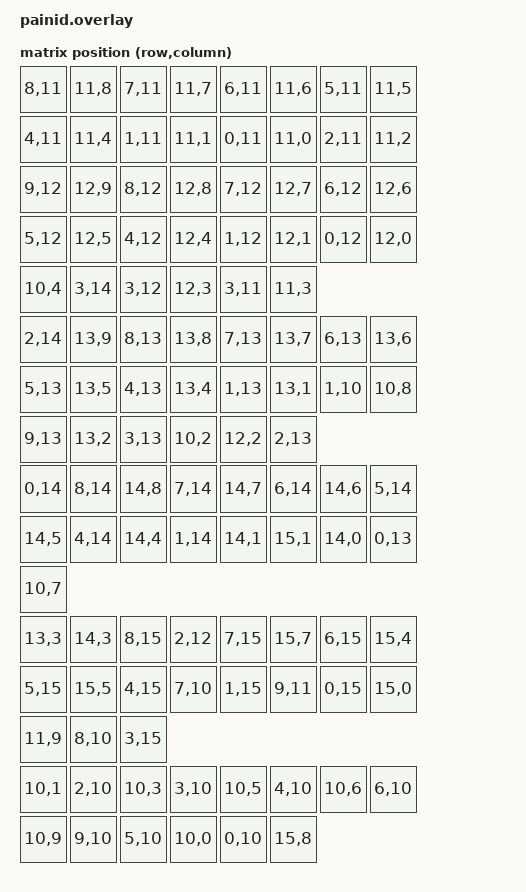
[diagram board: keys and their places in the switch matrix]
#include <dt-bindings/zmk/matrix_transform.h>
#include "painid-layouts.dtsi"

/ {
    chosen {
        zmk,physical-layout = &default_layout;
    };

    kscan: kscan {
        compatible = "zmk,kscan-gpio-charlieplex";
        wakeup-source;

        gpios
            = <&pro_micro 0  GPIO_ACTIVE_HIGH>
            , <&pro_micro 1  GPIO_ACTIVE_HIGH>
            , <&pro_micro 2  GPIO_ACTIVE_HIGH>
            , <&pro_micro 3  GPIO_ACTIVE_HIGH>
            , <&pro_micro 4  GPIO_ACTIVE_HIGH>
            , <&pro_micro 5  GPIO_ACTIVE_HIGH>
            , <&pro_micro 6  GPIO_ACTIVE_HIGH>
            , <&pro_micro 7  GPIO_ACTIVE_HIGH>
            , <&pro_micro 8  GPIO_ACTIVE_HIGH>
            , <&pro_micro 9  GPIO_ACTIVE_HIGH>
            , <&pro_micro 16 GPIO_ACTIVE_HIGH>
            , <&pro_micro 14 GPIO_ACTIVE_HIGH>
            , <&pro_micro 15 GPIO_ACTIVE_HIGH>
            , <&pro_micro 18 GPIO_ACTIVE_HIGH>
            , <&pro_micro 19 GPIO_ACTIVE_HIGH>
            , <&pro_micro 20 GPIO_ACTIVE_HIGH>
            ;
    };

    default_transform: default_transform {
        compatible = "zmk,matrix-transform";
        columns = <16>;
        rows = <16>;

        map = <
            /* Row 1 - Fn: Esc F1 F2 F3 F4 F5 F6 F7 F8 F9 F10 F11 F12 PrtSc ScrLk Pause */
            RC(8,11)  RC(11,8)  RC(7,11)  RC(11,7)  RC(6,11)  RC(11,6)  RC(5,11)  RC(11,5)
            RC(4,11)  RC(11,4)  RC(1,11)  RC(11,1)  RC(0,11)  RC(11,0)  RC(2,11)  RC(11,2)

            /* Row 2 - Num: Enc2 ^ 1 2 3 4 5 6 7 8 9 0 ss acu Bspc Ins Home PgUp NumLk / * Num- */
            RC(9,12)  RC(12,9)  RC(8,12)  RC(12,8)  RC(7,12)  RC(12,7)  RC(6,12)  RC(12,6)
            RC(5,12)  RC(12,5)  RC(4,12)  RC(12,4)  RC(1,12)  RC(12,1)  RC(0,12)  RC(12,0)
            RC(10,4)  RC(3,14)  RC(3,12)  RC(12,3)  RC(3,11)  RC(11,3)

            /* Row 3 - QWERTY: Enc3 Tab Q W E R T Z U I O P Ü + Enter Del End PgDn Num7 Num8 Num9 Num+ */
            RC(2,14)  RC(13,9)  RC(8,13)  RC(13,8)  RC(7,13)  RC(13,7)  RC(6,13)  RC(13,6)
            RC(5,13)  RC(13,5)  RC(4,13)  RC(13,4)  RC(1,13)  RC(13,1)  RC(1,10)  RC(10,8)
            RC(9,13)  RC(13,2)  RC(3,13)  RC(10,2)  RC(12,2)  RC(2,13)

            /* Row 4 - Home: Enc4 Caps A S D F G H J K L Ö Ä # Num4 Num5 Num6 */
            RC(0,14)  RC(8,14)  RC(14,8)  RC(7,14)  RC(14,7)  RC(6,14)  RC(14,6)  RC(5,14)
            RC(14,5)  RC(4,14)  RC(14,4)  RC(1,14)  RC(14,1)  RC(15,1)  RC(14,0)  RC(0,13)
            RC(10,7)

            /* Row 5 - Shift: Enc5 LShift < Y X C V B N M , . - RShift Up EncBtn1 EncBtn2 Num3 NumEnter */
            RC(13,3)  RC(14,3)  RC(8,15)  RC(2,12)  RC(7,15)  RC(15,7)  RC(6,15)  RC(15,4)
            RC(5,15)  RC(15,5)  RC(4,15)  RC(7,10)  RC(1,15)  RC(9,11)  RC(0,15)  RC(15,0)
            RC(11,9)  RC(8,10)  RC(3,15)

            /* Row 6 - Bottom: Enc6 LCtrl LWin LAlt Space RAlt RWin Menu RCtrl Left Down Right Num0 Num. */
            RC(10,1)  RC(2,10)  RC(10,3)  RC(3,10)  RC(10,5)  RC(4,10)  RC(10,6)  RC(6,10)
            RC(10,9)  RC(9,10)  RC(5,10)  RC(10,0)  RC(0,10)  RC(15,8)
        >;
    };
};
